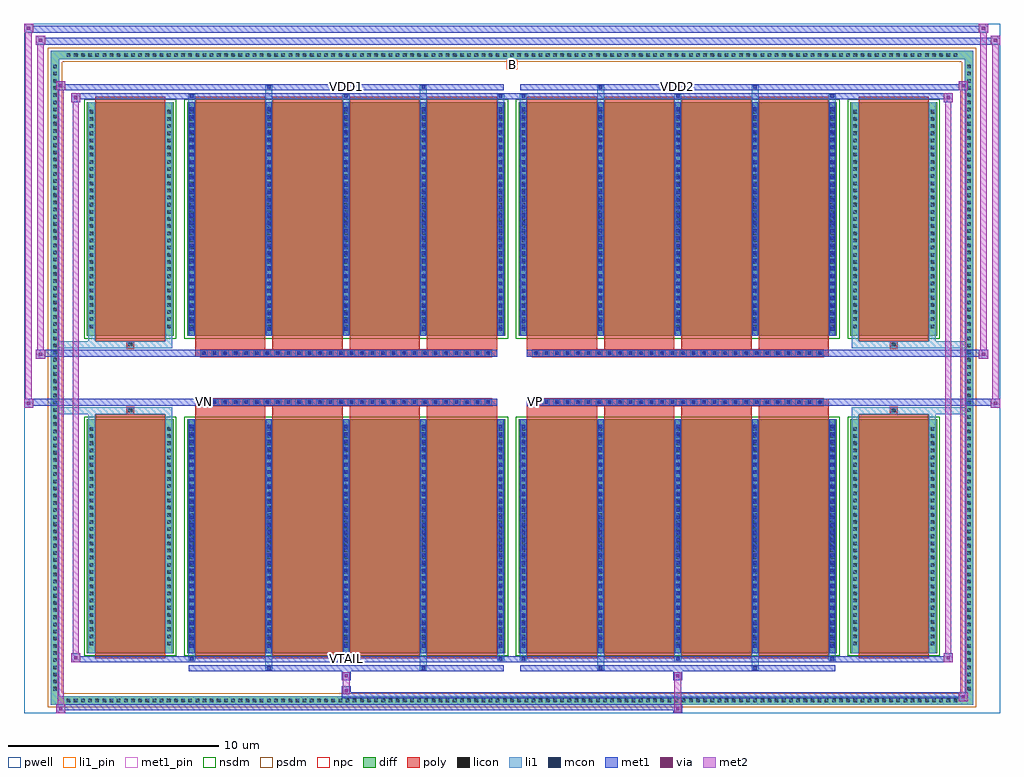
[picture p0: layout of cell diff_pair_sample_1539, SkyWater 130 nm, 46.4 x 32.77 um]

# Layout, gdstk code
import gdstk
lib = gdstk.Library(unit=1e-6, precision=5e-09)
def R(c, l, rs):  # rectangles x0, y0, x1, y1
    for r in rs: c.add(gdstk.rectangle(r[:2], r[2:], *l))
def A(c, l, x, y, w, h, nx, ny, dx, dy):  # array of equal rectangles
    R(c, l, [(x+i*dx, y+j*dy, x+i*dx+w, y+j*dy+h) for i in range(nx) for j in range(ny)])
def P(c, l, *ps):  # polygons
    for p in ps: c.add(gdstk.Polygon(p, *l))
pwell = (64, 44)
diff = (65, 20)
poly = (66, 20)
licon = (66, 44)
li1_pin = (67, 16)
li1 = (67, 20)
mcon = (67, 44)
met1_pin = (68, 16)
met1 = (68, 20)
via = (68, 44)
met2 = (69, 20)
nsdm = (93, 44)
psdm = (94, 20)
npc = (95, 20)

diff_pair_sample_1539 = lib.new_cell('diff_pair_sample_1539')
R(diff_pair_sample_1539, pwell, [(-23.2,-15.95,23.2,16.82), (-20.52,-14.14,-0.01,-0.8), (0.01,-14.14,20.52,-0.8), (-20.52,0.8,-0.01,14.14), (0.01,0.8,20.52,14.14)])
A(diff_pair_sample_1539, diff, -21.285, -15.55, 0.41, 0.41, 125, 2, 0.34, 30.69)
A(diff_pair_sample_1539, diff, -21.93, -14.995, 0.41, 0.41, 1, 88, 0, 0.34)
A(diff_pair_sample_1539, diff, 21.52, -14.995, 0.41, 0.41, 1, 88, 0, 0.34)
R(diff_pair_sample_1539, diff, [(-21.285,-15.55,21.285,-15.14), (-21.93,-14.995,-21.52,14.995), (21.52,-14.995,21.93,14.995), (-20.21,-13.095,-16.09,-1.985), (-15.45,-13.095,-0.32,-1.985), (0.32,-13.095,15.45,-1.985), (16.09,-13.095,20.21,-1.985), (-20.21,1.985,-16.09,13.095), (-15.45,1.985,-0.32,13.095), (0.32,1.985,15.45,13.095), (16.09,1.985,20.21,13.095), (-21.285,15.14,21.285,15.55)])
P(diff_pair_sample_1539, diff, [(21.93,15.55),(-21.93,15.55),(-21.93,-15.14),(-21.52,-15.14),(-21.52,15.14),(21.52,15.14),(21.52,-15.14),(-21.52,-15.14),(-21.93,-15.14),(-21.93,-15.55),(21.93,-15.55)])
A(diff_pair_sample_1539, poly, -15.06, -13.345, 3.34, 11.61, 4, 2, 3.67, 15.08)
A(diff_pair_sample_1539, poly, 0.71, -13.345, 3.34, 11.61, 4, 2, 3.67, 15.08)
A(diff_pair_sample_1539, poly, -15.06, -1.735, 3.34, 0.405, 4, 2, 3.67, 3.065)
A(diff_pair_sample_1539, poly, 0.71, -1.735, 3.34, 0.405, 4, 2, 3.67, 3.065)
A(diff_pair_sample_1539, poly, -14.8, -1.33, 0.33, 0.33, 28, 2, 0.5, 2.33)
A(diff_pair_sample_1539, poly, 0.97, -1.33, 0.33, 0.33, 28, 2, 0.5, 2.33)
R(diff_pair_sample_1539, poly, [(-19.82,-13.345,-16.48,-1.735), (16.48,-13.345,19.82,-1.735), (-18.315,-1.735,-17.985,-1.405), (-18.315,-1.735,-17.985,-1.405), (17.985,-1.735,18.315,-1.405), (17.985,-1.735,18.315,-1.405), (-15.06,-1.33,-0.71,-1), (0.71,-1.33,15.06,-1), (-15.06,1,-0.71,1.33), (0.71,1,15.06,1.33), (-18.315,1.405,-17.985,1.735), (-18.315,1.405,-17.985,1.735), (17.985,1.405,18.315,1.735), (17.985,1.405,18.315,1.735), (-19.82,1.735,-16.48,13.345), (16.48,1.735,19.82,13.345)])
A(diff_pair_sample_1539, licon, -21.165, -15.43, 0.17, 0.17, 125, 2, 0.34, 30.69)
A(diff_pair_sample_1539, licon, -21.81, -14.875, 0.17, 0.17, 1, 88, 0, 0.34)
A(diff_pair_sample_1539, licon, 21.64, -14.875, 0.17, 0.17, 1, 88, 0, 0.34)
A(diff_pair_sample_1539, licon, -20.07, -12.725, 0.17, 0.17, 1, 31, 0, 0.34)
A(diff_pair_sample_1539, licon, -16.4, -12.725, 0.17, 0.17, 1, 31, 0, 0.34)
A(diff_pair_sample_1539, licon, -15.31, -12.725, 0.17, 0.17, 5, 31, 3.67, 0.34)
A(diff_pair_sample_1539, licon, 0.46, -12.725, 0.17, 0.17, 5, 31, 3.67, 0.34)
A(diff_pair_sample_1539, licon, 16.23, -12.725, 0.17, 0.17, 1, 31, 0, 0.34)
A(diff_pair_sample_1539, licon, 19.9, -12.725, 0.17, 0.17, 1, 31, 0, 0.34)
A(diff_pair_sample_1539, licon, -14.72, -1.25, 0.17, 0.17, 28, 2, 0.5, 2.33)
A(diff_pair_sample_1539, licon, 1.05, -1.25, 0.17, 0.17, 28, 2, 0.5, 2.33)
A(diff_pair_sample_1539, licon, -20.07, 2.355, 0.17, 0.17, 1, 31, 0, 0.34)
A(diff_pair_sample_1539, licon, -16.4, 2.355, 0.17, 0.17, 1, 31, 0, 0.34)
A(diff_pair_sample_1539, licon, -15.31, 2.355, 0.17, 0.17, 5, 31, 3.67, 0.34)
A(diff_pair_sample_1539, licon, 0.46, 2.355, 0.17, 0.17, 5, 31, 3.67, 0.34)
A(diff_pair_sample_1539, licon, 16.23, 2.355, 0.17, 0.17, 1, 31, 0, 0.34)
A(diff_pair_sample_1539, licon, 19.9, 2.355, 0.17, 0.17, 1, 31, 0, 0.34)
R(diff_pair_sample_1539, licon, [(-18.235,-1.655,-18.065,-1.485), (18.065,-1.655,18.235,-1.485), (-18.235,1.485,-18.065,1.655), (18.065,1.485,18.235,1.655)])
R(diff_pair_sample_1539, li1_pin, [(-0.25,14.64,0.25,15.14)])
A(diff_pair_sample_1539, li1, -21.245, -15.51, 0.33, 0.33, 125, 2, 0.34, 30.69)
A(diff_pair_sample_1539, li1, -21.89, -14.955, 0.33, 0.33, 1, 88, 0, 0.34)
A(diff_pair_sample_1539, li1, 21.56, -14.955, 0.33, 0.33, 1, 88, 0, 0.34)
A(diff_pair_sample_1539, li1, -15.39, -13.47, 0.33, 0.375, 3, 2, 7.34, 26.565)
A(diff_pair_sample_1539, li1, -15.31, -13.47, 0.17, 0.17, 3, 2, 7.34, 26.77)
A(diff_pair_sample_1539, li1, 0.38, -13.47, 0.33, 0.375, 3, 2, 7.34, 26.565)
A(diff_pair_sample_1539, li1, 0.46, -13.47, 0.17, 0.17, 3, 2, 7.34, 26.77)
A(diff_pair_sample_1539, li1, -15.39, -13.095, 0.33, 11.11, 5, 2, 3.67, 15.08)
A(diff_pair_sample_1539, li1, 0.38, -13.095, 0.33, 11.11, 5, 2, 3.67, 15.08)
A(diff_pair_sample_1539, li1, -15.31, -12.845, 0.17, 0.17, 5, 30, 3.67, 0.36)
A(diff_pair_sample_1539, li1, -15.31, -12.845, 0.17, 10.61, 5, 2, 3.67, 15.08)
A(diff_pair_sample_1539, li1, 0.46, -12.845, 0.17, 0.17, 5, 30, 3.67, 0.36)
A(diff_pair_sample_1539, li1, 0.46, -12.845, 0.17, 10.61, 5, 2, 3.67, 15.08)
A(diff_pair_sample_1539, li1, -20.15, -12.805, 0.33, 0.33, 1, 31, 0, 0.34)
A(diff_pair_sample_1539, li1, -16.48, -12.805, 0.33, 0.33, 1, 31, 0, 0.34)
A(diff_pair_sample_1539, li1, -15.39, -12.805, 0.33, 0.33, 5, 31, 3.67, 0.34)
A(diff_pair_sample_1539, li1, 0.38, -12.805, 0.33, 0.33, 5, 31, 3.67, 0.34)
A(diff_pair_sample_1539, li1, 16.15, -12.805, 0.33, 0.33, 1, 31, 0, 0.34)
A(diff_pair_sample_1539, li1, 19.82, -12.805, 0.33, 0.33, 1, 31, 0, 0.34)
A(diff_pair_sample_1539, li1, -14.8, -1.33, 0.33, 0.33, 28, 2, 0.5, 2.33)
A(diff_pair_sample_1539, li1, 0.97, -1.33, 0.33, 0.33, 28, 2, 0.5, 2.33)
A(diff_pair_sample_1539, li1, -15.31, 2.235, 0.17, 0.17, 5, 30, 3.67, 0.36)
A(diff_pair_sample_1539, li1, 0.46, 2.235, 0.17, 0.17, 5, 30, 3.67, 0.36)
A(diff_pair_sample_1539, li1, -20.15, 2.275, 0.33, 0.33, 1, 31, 0, 0.34)
A(diff_pair_sample_1539, li1, -16.48, 2.275, 0.33, 0.33, 1, 31, 0, 0.34)
A(diff_pair_sample_1539, li1, -15.39, 2.275, 0.33, 0.33, 5, 31, 3.67, 0.34)
A(diff_pair_sample_1539, li1, 0.38, 2.275, 0.33, 0.33, 5, 31, 3.67, 0.34)
A(diff_pair_sample_1539, li1, 16.15, 2.275, 0.33, 0.33, 1, 31, 0, 0.34)
A(diff_pair_sample_1539, li1, 19.82, 2.275, 0.33, 0.33, 1, 31, 0, 0.34)
R(diff_pair_sample_1539, li1, [(-21.93,-15.55,-21.52,-15.14), (-21.93,-15.55,-21.52,-15.14), (-21.52,-15.55,21.52,-15.14), (21.52,-15.55,21.93,-15.14), (21.52,-15.55,21.93,-15.14), (-21.93,-15.14,-21.52,15.14), (21.52,-15.14,21.93,15.14), (-11.72,-13.9,-11.39,-13.095), (-11.64,-13.9,-11.47,-13.73), (-4.38,-13.9,-4.05,-13.095), (-4.3,-13.9,-4.13,-13.73), (4.05,-13.9,4.38,-13.095), (4.13,-13.9,4.3,-13.73), (11.39,-13.9,11.72,-13.095), (11.47,-13.9,11.64,-13.73), (-20.15,-13.095,-19.82,-1.985), (-16.48,-13.095,-16.15,-1.985), (16.15,-13.095,16.48,-1.985), (19.82,-13.095,20.15,-1.985), (-20.15,-1.985,-19.82,-1.405), (-16.48,-1.985,-16.15,-1.405), (16.15,-1.985,16.48,-1.405), (19.82,-1.985,20.15,-1.405), (-21.93,-1.735,-18.315,-1.405), (-20.15,-1.735,-18.315,-1.405), (-18.315,-1.735,-17.985,-1.405), (-17.985,-1.735,-16.15,-1.405), (16.15,-1.735,17.985,-1.405), (17.985,-1.735,18.315,-1.405), (17.985,-1.735,21.93,-1.405), (18.315,-1.735,20.15,-1.405), (-21.93,1.405,-18.315,1.735), (-20.15,1.405,-18.315,1.735), (-20.15,1.405,-19.82,1.985), (-18.315,1.405,-17.985,1.735), (-17.985,1.405,-16.15,1.735), (-16.48,1.405,-16.15,1.985), (16.15,1.405,17.985,1.735), (16.15,1.405,16.48,1.985), (17.985,1.405,18.315,1.735), (17.985,1.405,21.93,1.735), (18.315,1.405,20.15,1.735), (19.82,1.405,20.15,1.985), (-20.15,1.985,-19.82,13.095), (-16.48,1.985,-16.15,13.095), (16.15,1.985,16.48,13.095), (19.82,1.985,20.15,13.095), (-11.72,13.095,-11.39,13.9), (-4.38,13.095,-4.05,13.9), (4.05,13.095,4.38,13.9), (11.39,13.095,11.72,13.9), (-11.64,13.73,-11.47,13.9), (-4.3,13.73,-4.13,13.9), (4.13,13.73,4.3,13.9), (11.47,13.73,11.64,13.9), (-21.93,15.14,-21.52,15.55), (-21.93,15.14,-21.52,15.55), (-21.52,15.14,21.52,15.55), (21.52,15.14,21.93,15.55), (21.52,15.14,21.93,15.55)])
A(diff_pair_sample_1539, mcon, -15.31, -13.47, 0.17, 0.17, 3, 2, 7.34, 26.77)
A(diff_pair_sample_1539, mcon, 0.46, -13.47, 0.17, 0.17, 3, 2, 7.34, 26.77)
A(diff_pair_sample_1539, mcon, -15.31, -12.845, 0.17, 0.17, 5, 30, 3.67, 0.36)
A(diff_pair_sample_1539, mcon, 0.46, -12.845, 0.17, 0.17, 5, 30, 3.67, 0.36)
A(diff_pair_sample_1539, mcon, -14.72, -1.25, 0.17, 0.17, 28, 2, 0.5, 2.33)
A(diff_pair_sample_1539, mcon, 1.05, -1.25, 0.17, 0.17, 28, 2, 0.5, 2.33)
A(diff_pair_sample_1539, mcon, -15.31, 2.235, 0.17, 0.17, 5, 30, 3.67, 0.36)
A(diff_pair_sample_1539, mcon, 0.46, 2.235, 0.17, 0.17, 5, 30, 3.67, 0.36)
R(diff_pair_sample_1539, mcon, [(-11.64,-13.9,-11.47,-13.73), (-4.3,-13.9,-4.13,-13.73), (4.13,-13.9,4.3,-13.73), (11.47,-13.9,11.64,-13.73), (-11.64,13.73,-11.47,13.9), (-4.3,13.73,-4.13,13.9), (4.13,13.73,4.3,13.9), (11.47,13.73,11.64,13.9)])
R(diff_pair_sample_1539, met1_pin, [(-8.02,-13.51,-7.75,-13.24), (-14.77,-1.29,-14.5,-1.02), (1,-1.29,1.27,-1.02), (-8.02,13.69,-7.75,13.96), (7.75,13.69,8.02,13.96)])
A(diff_pair_sample_1539, met1, -15.37, -13.53, 0.29, 0.29, 3, 2, 7.34, 26.77)
A(diff_pair_sample_1539, met1, 0.4, -13.53, 0.29, 0.29, 3, 2, 7.34, 26.77)
A(diff_pair_sample_1539, met1, -15.37, -13.095, 0.29, 11.11, 5, 2, 3.67, 15.08)
A(diff_pair_sample_1539, met1, 0.4, -13.095, 0.29, 11.11, 5, 2, 3.67, 15.08)
A(diff_pair_sample_1539, met1, -15.37, -12.905, 0.29, 0.29, 5, 30, 3.67, 0.36)
A(diff_pair_sample_1539, met1, 0.4, -12.905, 0.29, 0.29, 5, 30, 3.67, 0.36)
A(diff_pair_sample_1539, met1, -14.78, -1.31, 0.29, 0.29, 28, 2, 0.5, 2.33)
A(diff_pair_sample_1539, met1, 0.99, -1.31, 0.29, 0.29, 28, 2, 0.5, 2.33)
A(diff_pair_sample_1539, met1, -15.37, 2.175, 0.29, 0.29, 5, 30, 3.67, 0.36)
A(diff_pair_sample_1539, met1, 0.4, 2.175, 0.29, 0.29, 5, 30, 3.67, 0.36)
R(diff_pair_sample_1539, met1, [(-21.66,-15.95,-21.23,-15.52), (7.67,-15.95,8.1,-15.52), (-21.66,-15.81,8.1,-15.52), (21.23,-15.38,21.66,-14.95), (-8.1,-15.24,21.66,-14.95), (-8.1,-15.1,-7.67,-14.67), (-8.1,-14.39,-7.67,-13.96), (7.67,-14.39,8.1,-13.96), (-15.37,-13.96,-0.4,-13.67), (-11.7,-13.96,-11.41,-13.67), (-4.36,-13.96,-4.07,-13.67), (0.4,-13.96,15.37,-13.67), (4.07,-13.96,4.36,-13.67), (11.41,-13.96,11.7,-13.67), (-20.95,-13.53,-20.52,-13.1), (-20.95,-13.53,-15.37,-13.24), (-15.37,-13.53,-0.4,-13.24), (-0.4,-13.53,0.4,-13.24), (0.4,-13.53,15.37,-13.24), (15.37,-13.53,20.95,-13.24), (20.52,-13.53,20.95,-13.1), (-23.2,-1.43,-22.77,-1), (22.77,-1.43,23.2,-1), (-23.2,-1.33,-0.71,-1), (-15.06,-1.33,-0.71,-1), (0.71,-1.33,15.06,-1), (0.71,-1.33,23.2,-1), (-22.63,0.9,-22.2,1.33), (22.2,0.9,22.63,1.33), (-22.63,1,-15.06,1.33), (-15.06,1,-0.71,1.33), (0.71,1,15.06,1.33), (15.06,1,22.63,1.33), (-20.95,13.1,-20.52,13.53), (20.52,13.1,20.95,13.53), (-20.95,13.24,-15.37,13.53), (-15.37,13.24,-0.4,13.53), (-0.4,13.24,0.4,13.53), (0.4,13.24,15.37,13.53), (15.37,13.24,20.95,13.53), (-21.66,13.67,-21.23,14.1), (-21.66,13.67,-15.37,13.96), (-15.37,13.67,-0.4,13.96), (-11.7,13.67,-11.41,13.96), (-4.36,13.67,-4.07,13.96), (0.4,13.67,15.37,13.96), (4.07,13.67,4.36,13.96), (11.41,13.67,11.7,13.96), (15.37,13.67,21.66,13.96), (21.23,13.67,21.66,14.1), (-22.63,15.82,-22.2,16.25), (-22.63,15.82,-20.52,16.15), (-20.52,15.82,20.52,16.15), (20.52,15.82,23.2,16.15), (22.77,15.82,23.2,16.25), (-23.2,16.39,-22.77,16.82), (-23.2,16.39,-20.52,16.72), (-20.52,16.39,20.52,16.72), (20.52,16.39,22.63,16.72), (22.2,16.39,22.63,16.82)])
R(diff_pair_sample_1539, via, [(-21.52,-15.81,-21.37,-15.66), (7.81,-15.81,7.96,-15.66), (21.37,-15.24,21.52,-15.09), (-7.96,-14.96,-7.81,-14.81), (-7.96,-14.25,-7.81,-14.1), (7.81,-14.25,7.96,-14.1), (-20.81,-13.39,-20.66,-13.24), (20.66,-13.39,20.81,-13.24), (-23.06,-1.29,-22.91,-1.14), (22.91,-1.29,23.06,-1.14), (-22.49,1.04,-22.34,1.19), (22.34,1.04,22.49,1.19), (-20.81,13.24,-20.66,13.39), (20.66,13.24,20.81,13.39), (-21.52,13.81,-21.37,13.96), (21.37,13.81,21.52,13.96), (-22.49,15.96,-22.34,16.11), (22.91,15.96,23.06,16.11), (-23.06,16.53,-22.91,16.68), (22.34,16.53,22.49,16.68)])
R(diff_pair_sample_1539, met2, [(-21.66,-15.95,-21.23,-15.52), (-21.59,-15.95,-21.3,14.1), (-21.3,-15.95,-21.23,-15.52), (-21.61,-15.9,-21.28,-15.57), (7.72,-15.9,8.05,-15.57), (7.72,-15.57,8.05,-14.34), (21.23,-15.38,21.66,-14.95), (21.3,-15.38,21.59,14.1), (21.59,-15.38,21.66,-14.95), (21.28,-15.33,21.61,-15), (-8.05,-15.05,-7.72,-14.72), (-8.05,-14.72,-7.72,-14.34), (-8.05,-14.34,-7.72,-14.01), (7.72,-14.34,8.05,-14.01), (-20.95,-13.53,-20.52,-13.1), (-20.88,-13.53,-20.59,13.53), (-20.59,-13.53,-20.52,-13.1), (20.52,-13.53,20.95,-13.1), (20.59,-13.53,20.88,13.53), (20.88,-13.53,20.95,-13.1), (-20.9,-13.48,-20.57,-13.15), (20.57,-13.48,20.9,-13.15), (-23.2,-1.43,-22.77,-1), (-23.15,-1.43,-22.82,16.82), (-22.82,-1.43,-22.77,-1), (22.77,-1.43,23.2,-1), (22.82,-1.43,23.15,16.25), (23.15,-1.43,23.2,-1), (-23.15,-1.38,-22.82,-1.05), (22.82,-1.38,23.15,-1.05), (-22.63,0.9,-22.2,1.33), (-22.58,0.9,-22.25,16.25), (-22.25,0.9,-22.2,1.33), (22.2,0.9,22.63,1.33), (22.25,0.9,22.58,16.82), (22.58,0.9,22.63,1.33), (-22.58,0.95,-22.25,1.28), (22.25,0.95,22.58,1.28), (-20.95,13.1,-20.52,13.53), (-20.59,13.1,-20.52,13.53), (20.52,13.1,20.95,13.53), (20.88,13.1,20.95,13.53), (-20.9,13.15,-20.57,13.48), (20.57,13.15,20.9,13.48), (-21.66,13.67,-21.23,14.1), (-21.3,13.67,-21.23,14.1), (21.23,13.67,21.66,14.1), (21.59,13.67,21.66,14.1), (-21.61,13.72,-21.28,14.05), (21.28,13.72,21.61,14.05), (-22.63,15.82,-22.2,16.25), (-22.25,15.82,-22.2,16.25), (22.77,15.82,23.2,16.25), (23.15,15.82,23.2,16.25), (-22.58,15.87,-22.25,16.2), (22.82,15.87,23.15,16.2), (-23.2,16.39,-22.77,16.82), (-22.82,16.39,-22.77,16.82), (22.2,16.39,22.63,16.82), (22.58,16.39,22.63,16.82), (-23.15,16.44,-22.82,16.77), (22.25,16.44,22.58,16.77)])
R(diff_pair_sample_1539, nsdm, [(-20.34,-13.225,-15.96,-1.855), (-15.58,-13.225,-0.19,-1.855), (0.19,-13.225,15.58,-1.855), (15.96,-13.225,20.34,-1.855), (-20.34,1.855,-15.96,13.225), (-15.58,1.855,-0.19,13.225), (0.19,1.855,15.58,13.225), (15.96,1.855,20.34,13.225)])
P(diff_pair_sample_1539, psdm, [(22.06,15.68),(-22.06,15.68),(-22.06,-15.01),(-21.39,-15.01),(-21.39,15.01),(21.39,15.01),(21.39,-15.01),(-21.39,-15.01),(-22.06,-15.01),(-22.06,-15.68),(22.06,-15.68)])
A(diff_pair_sample_1539, npc, -14.82, -1.35, 0.37, 0.37, 28, 2, 0.5, 2.33)
A(diff_pair_sample_1539, npc, 0.95, -1.35, 0.37, 0.37, 28, 2, 0.5, 2.33)
R(diff_pair_sample_1539, npc, [(-18.335,-1.755,-17.965,-1.385), (17.965,-1.755,18.335,-1.385), (-14.82,-1.35,-13.95,-0.98), (-14.82,-1.35,-13.95,-0.98), (-14.32,-1.35,-13.45,-0.98), (-14.32,-1.35,-13.45,-0.98), (-13.82,-1.35,-12.95,-0.98), (-13.82,-1.35,-12.95,-0.98), (-13.32,-1.35,-12.45,-0.98), (-13.32,-1.35,-12.45,-0.98), (-12.82,-1.35,-11.95,-0.98), (-12.82,-1.35,-11.95,-0.98), (-12.32,-1.35,-11.45,-0.98), (-12.32,-1.35,-11.45,-0.98), (-11.82,-1.35,-10.95,-0.98), (-11.82,-1.35,-10.95,-0.98), (-11.32,-1.35,-10.45,-0.98), (-11.32,-1.35,-10.45,-0.98), (-10.82,-1.35,-9.95,-0.98), (-10.82,-1.35,-9.95,-0.98), (-10.32,-1.35,-9.45,-0.98), (-10.32,-1.35,-9.45,-0.98), (-9.82,-1.35,-8.95,-0.98), (-9.82,-1.35,-8.95,-0.98), (-9.32,-1.35,-8.45,-0.98), (-9.32,-1.35,-8.45,-0.98), (-8.82,-1.35,-7.95,-0.98), (-8.82,-1.35,-7.95,-0.98), (-8.32,-1.35,-7.45,-0.98), (-8.32,-1.35,-7.45,-0.98), (-7.82,-1.35,-6.95,-0.98), (-7.82,-1.35,-6.95,-0.98), (-7.32,-1.35,-6.45,-0.98), (-7.32,-1.35,-6.45,-0.98), (-6.82,-1.35,-5.95,-0.98), (-6.82,-1.35,-5.95,-0.98), (-6.32,-1.35,-5.45,-0.98), (-6.32,-1.35,-5.45,-0.98), (-5.82,-1.35,-4.95,-0.98), (-5.82,-1.35,-4.95,-0.98), (-5.32,-1.35,-4.45,-0.98), (-5.32,-1.35,-4.45,-0.98), (-4.82,-1.35,-3.95,-0.98), (-4.82,-1.35,-3.95,-0.98), (-4.32,-1.35,-3.45,-0.98), (-4.32,-1.35,-3.45,-0.98), (-3.82,-1.35,-2.95,-0.98), (-3.82,-1.35,-2.95,-0.98), (-3.32,-1.35,-2.45,-0.98), (-3.32,-1.35,-2.45,-0.98), (-2.82,-1.35,-1.95,-0.98), (-2.82,-1.35,-1.95,-0.98), (-2.32,-1.35,-1.45,-0.98), (-2.32,-1.35,-1.45,-0.98), (-1.82,-1.35,-0.95,-0.98), (-1.82,-1.35,-0.95,-0.98), (0.95,-1.35,1.82,-0.98), (0.95,-1.35,1.82,-0.98), (1.45,-1.35,2.32,-0.98), (1.45,-1.35,2.32,-0.98), (1.95,-1.35,2.82,-0.98), (1.95,-1.35,2.82,-0.98), (2.45,-1.35,3.32,-0.98), (2.45,-1.35,3.32,-0.98), (2.95,-1.35,3.82,-0.98), (2.95,-1.35,3.82,-0.98), (3.45,-1.35,4.32,-0.98), (3.45,-1.35,4.32,-0.98), (3.95,-1.35,4.82,-0.98), (3.95,-1.35,4.82,-0.98), (4.45,-1.35,5.32,-0.98), (4.45,-1.35,5.32,-0.98), (4.95,-1.35,5.82,-0.98), (4.95,-1.35,5.82,-0.98), (5.45,-1.35,6.32,-0.98), (5.45,-1.35,6.32,-0.98), (5.95,-1.35,6.82,-0.98), (5.95,-1.35,6.82,-0.98), (6.45,-1.35,7.32,-0.98), (6.45,-1.35,7.32,-0.98), (6.95,-1.35,7.82,-0.98), (6.95,-1.35,7.82,-0.98), (7.45,-1.35,8.32,-0.98), (7.45,-1.35,8.32,-0.98), (7.95,-1.35,8.82,-0.98), (7.95,-1.35,8.82,-0.98), (8.45,-1.35,9.32,-0.98), (8.45,-1.35,9.32,-0.98), (8.95,-1.35,9.82,-0.98), (8.95,-1.35,9.82,-0.98), (9.45,-1.35,10.32,-0.98), (9.45,-1.35,10.32,-0.98), (9.95,-1.35,10.82,-0.98), (9.95,-1.35,10.82,-0.98), (10.45,-1.35,11.32,-0.98), (10.45,-1.35,11.32,-0.98), (10.95,-1.35,11.82,-0.98), (10.95,-1.35,11.82,-0.98), (11.45,-1.35,12.32,-0.98), (11.45,-1.35,12.32,-0.98), (11.95,-1.35,12.82,-0.98), (11.95,-1.35,12.82,-0.98), (12.45,-1.35,13.32,-0.98), (12.45,-1.35,13.32,-0.98), (12.95,-1.35,13.82,-0.98), (12.95,-1.35,13.82,-0.98), (13.45,-1.35,14.32,-0.98), (13.45,-1.35,14.32,-0.98), (13.95,-1.35,14.82,-0.98), (13.95,-1.35,14.82,-0.98), (-14.82,0.98,-13.95,1.35), (-14.82,0.98,-13.95,1.35), (-14.32,0.98,-13.45,1.35), (-14.32,0.98,-13.45,1.35), (-13.82,0.98,-12.95,1.35), (-13.82,0.98,-12.95,1.35), (-13.32,0.98,-12.45,1.35), (-13.32,0.98,-12.45,1.35), (-12.82,0.98,-11.95,1.35), (-12.82,0.98,-11.95,1.35), (-12.32,0.98,-11.45,1.35), (-12.32,0.98,-11.45,1.35), (-11.82,0.98,-10.95,1.35), (-11.82,0.98,-10.95,1.35), (-11.32,0.98,-10.45,1.35), (-11.32,0.98,-10.45,1.35), (-10.82,0.98,-9.95,1.35), (-10.82,0.98,-9.95,1.35), (-10.32,0.98,-9.45,1.35), (-10.32,0.98,-9.45,1.35), (-9.82,0.98,-8.95,1.35), (-9.82,0.98,-8.95,1.35), (-9.32,0.98,-8.45,1.35), (-9.32,0.98,-8.45,1.35), (-8.82,0.98,-7.95,1.35), (-8.82,0.98,-7.95,1.35), (-8.32,0.98,-7.45,1.35), (-8.32,0.98,-7.45,1.35), (-7.82,0.98,-6.95,1.35), (-7.82,0.98,-6.95,1.35), (-7.32,0.98,-6.45,1.35), (-7.32,0.98,-6.45,1.35), (-6.82,0.98,-5.95,1.35), (-6.82,0.98,-5.95,1.35), (-6.32,0.98,-5.45,1.35), (-6.32,0.98,-5.45,1.35), (-5.82,0.98,-4.95,1.35), (-5.82,0.98,-4.95,1.35), (-5.32,0.98,-4.45,1.35), (-5.32,0.98,-4.45,1.35), (-4.82,0.98,-3.95,1.35), (-4.82,0.98,-3.95,1.35), (-4.32,0.98,-3.45,1.35), (-4.32,0.98,-3.45,1.35), (-3.82,0.98,-2.95,1.35), (-3.82,0.98,-2.95,1.35), (-3.32,0.98,-2.45,1.35), (-3.32,0.98,-2.45,1.35), (-2.82,0.98,-1.95,1.35), (-2.82,0.98,-1.95,1.35), (-2.32,0.98,-1.45,1.35), (-2.32,0.98,-1.45,1.35), (-1.82,0.98,-0.95,1.35), (-1.82,0.98,-0.95,1.35), (0.95,0.98,1.82,1.35), (0.95,0.98,1.82,1.35), (1.45,0.98,2.32,1.35), (1.45,0.98,2.32,1.35), (1.95,0.98,2.82,1.35), (1.95,0.98,2.82,1.35), (2.45,0.98,3.32,1.35), (2.45,0.98,3.32,1.35), (2.95,0.98,3.82,1.35), (2.95,0.98,3.82,1.35), (3.45,0.98,4.32,1.35), (3.45,0.98,4.32,1.35), (3.95,0.98,4.82,1.35), (3.95,0.98,4.82,1.35), (4.45,0.98,5.32,1.35), (4.45,0.98,5.32,1.35), (4.95,0.98,5.82,1.35), (4.95,0.98,5.82,1.35), (5.45,0.98,6.32,1.35), (5.45,0.98,6.32,1.35), (5.95,0.98,6.82,1.35), (5.95,0.98,6.82,1.35), (6.45,0.98,7.32,1.35), (6.45,0.98,7.32,1.35), (6.95,0.98,7.82,1.35), (6.95,0.98,7.82,1.35), (7.45,0.98,8.32,1.35), (7.45,0.98,8.32,1.35), (7.95,0.98,8.82,1.35), (7.95,0.98,8.82,1.35), (8.45,0.98,9.32,1.35), (8.45,0.98,9.32,1.35), (8.95,0.98,9.82,1.35), (8.95,0.98,9.82,1.35), (9.45,0.98,10.32,1.35), (9.45,0.98,10.32,1.35), (9.95,0.98,10.82,1.35), (9.95,0.98,10.82,1.35), (10.45,0.98,11.32,1.35), (10.45,0.98,11.32,1.35), (10.95,0.98,11.82,1.35), (10.95,0.98,11.82,1.35), (11.45,0.98,12.32,1.35), (11.45,0.98,12.32,1.35), (11.95,0.98,12.82,1.35), (11.95,0.98,12.82,1.35), (12.45,0.98,13.32,1.35), (12.45,0.98,13.32,1.35), (12.95,0.98,13.82,1.35), (12.95,0.98,13.82,1.35), (13.45,0.98,14.32,1.35), (13.45,0.98,14.32,1.35), (13.95,0.98,14.82,1.35), (13.95,0.98,14.82,1.35), (-18.335,1.385,-17.965,1.755), (17.965,1.385,18.335,1.755)])
diff_pair_sample_1539.add(gdstk.Label('VTAIL', (-7.885,-13.375), layer=68, texttype=5))
diff_pair_sample_1539.add(gdstk.Label('VN', (-14.635,-1.155), layer=68, texttype=5))
diff_pair_sample_1539.add(gdstk.Label('VP', (1.135,-1.155), layer=68, texttype=5))
diff_pair_sample_1539.add(gdstk.Label('B', (0,14.89), layer=67, texttype=5))
diff_pair_sample_1539.add(gdstk.Label('VDD2', (7.885,13.825), layer=68, texttype=5))
diff_pair_sample_1539.add(gdstk.Label('VDD1', (-7.885,13.825), layer=68, texttype=5))

lib.write_gds('diff_pair_sample_1539.gds')
